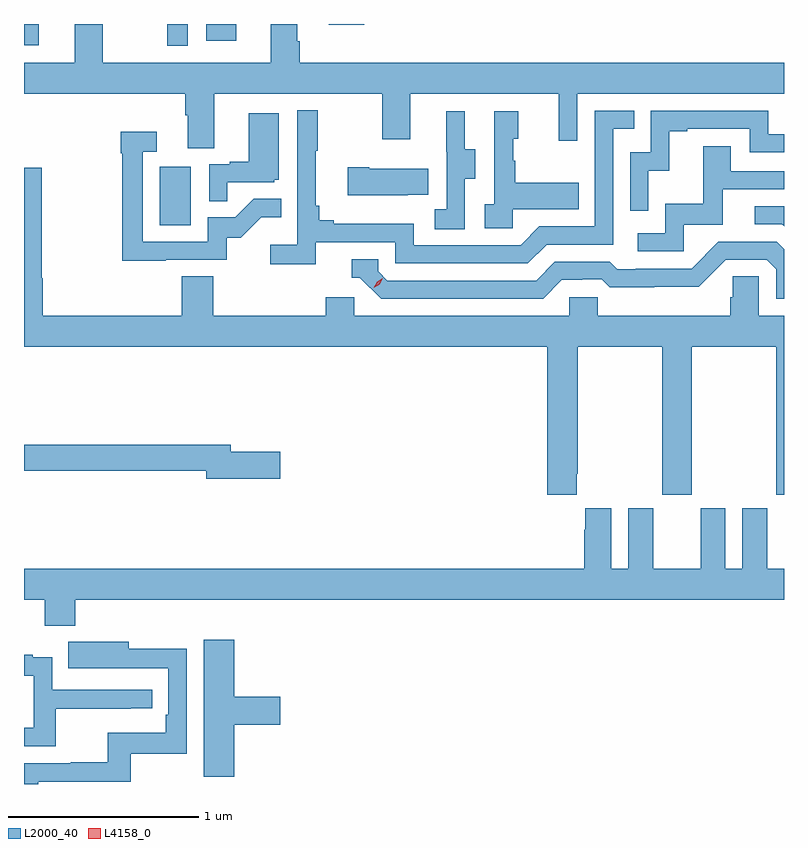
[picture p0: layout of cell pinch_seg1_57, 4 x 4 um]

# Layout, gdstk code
import gdstk
lib = gdstk.Library(unit=1e-6, precision=1e-09)
def R(c, l, rs):  # rectangles x0, y0, x1, y1
    for r in rs: c.add(gdstk.rectangle(r[:2], r[2:], *l))
def P(c, l, *ps):  # polygons
    for p in ps: c.add(gdstk.Polygon(p, *l))
L2000_40 = (2000, 40)
L4158_0 = (4158, 0)

pinch_seg1_57 = lib.new_cell('pinch_seg1_57')
R(pinch_seg1_57, L2000_40, [(1045.994,565.692,1046.158,565.999), (1046.034,566.637,1046.142,566.751), (1045.28,566.64,1045.358,566.751), (1046.24,566.664,1046.398,566.751), (1046.883,566.748,1047.071,566.751)])
P(pinch_seg1_57, L2000_40, [(1046.281,566.384),(1047.166,566.384),(1047.166,566.145),(1047.313,566.145),(1047.313,566.384),(1048.094,566.384),(1048.094,566.136),(1048.191,566.136),(1048.191,566.384),(1049.28,566.384),(1049.28,566.548),(1046.732,566.548),(1046.732,566.66),(1046.719,566.66),(1046.719,566.751),(1046.579,566.751),(1046.579,566.548),(1045.695,566.548),(1045.695,566.751),(1045.547,566.751),(1045.547,566.548),(1045.28,566.548),(1045.28,566.384),(1046.129,566.384),(1046.129,566.272),(1046.141,566.272),(1046.141,566.098),(1046.281,566.098)],
  [(1046.816,565.602),(1047.234,565.602),(1047.234,565.491),(1047.931,565.491),(1048.03,565.59),(1048.38,565.59),(1048.38,566.199),(1048.493,566.199),(1048.493,566.295),(1048.284,566.295),(1048.284,565.686),(1047.993,565.686),(1047.894,565.587),(1047.33,565.587),(1047.33,565.699),(1046.911,565.699),(1046.911,565.718),(1046.834,565.718),(1046.834,565.795),(1046.815,565.795),(1046.815,566.083),(1046.827,566.083),(1046.827,566.296),(1046.718,566.296),(1046.718,565.588),(1046.577,565.588),(1046.577,565.486),(1046.816,565.486)],
  [(1048.566,565.979),(1048.676,565.979),(1048.676,566.187),(1048.771,566.187),(1048.771,566.199),(1049.1,566.199),(1049.1,566.076),(1049.28,566.076),(1049.28,566.172),(1049.196,566.172),(1049.196,566.295),(1048.578,566.295),(1048.578,566.076),(1048.47,566.076),(1048.47,565.767),(1048.566,565.767)],
  [(1047.852,565.775),(1048.199,565.775),(1048.199,565.915),(1047.865,565.915),(1047.865,566.03),(1047.855,566.03),(1047.855,566.148),(1047.88,566.148),(1047.88,566.293),(1047.756,566.293),(1047.756,565.802),(1047.705,565.802),(1047.705,565.677),(1047.852,565.677)],
  [(1047.6,565.936),(1047.655,565.936),(1047.655,566.091),(1047.601,566.091),(1047.601,566.293),(1047.503,566.293),(1047.503,566.079),(1047.504,566.079),(1047.504,565.775),(1047.441,565.775),(1047.441,565.672),(1047.6,565.672)],
  [(1046.351,565.917),(1046.598,565.917),(1046.598,565.932),(1046.62,565.932),(1046.62,566.281),(1046.462,566.281),(1046.462,566.026),(1046.363,566.026),(1046.363,566.013),(1046.256,566.013),(1046.256,565.819),(1046.351,565.819)],
  [(1046.027,565.509),(1046.346,565.509),(1046.346,565.626),(1046.422,565.626),(1046.529,565.733),(1046.633,565.733),(1046.633,565.832),(1046.489,565.832),(1046.391,565.734),(1046.247,565.734),(1046.247,565.605),(1045.905,565.605),(1045.905,566.079),(1045.978,566.079),(1045.978,566.185),(1045.789,566.185),(1045.789,566.072),(1045.797,566.072),(1045.797,565.504),(1046.027,565.504)],
  [(1048.752,565.695),(1048.957,565.695),(1048.957,565.881),(1049.28,565.881),(1049.28,565.977),(1048.999,565.977),(1048.999,566.107),(1048.855,566.107),(1048.855,565.804),(1048.656,565.804),(1048.656,565.65),(1048.509,565.65),(1048.509,565.554),(1048.752,565.554)],
  [(1047.299,565.853),(1047.407,565.853),(1047.407,565.99),(1047.097,565.99),(1047.097,565.998),(1046.985,565.998),(1046.985,565.85),(1047.299,565.85)],
  [(1048.189,564.385),(1048.194,564.385),(1048.194,565.052),(1048.639,565.052),(1048.639,564.273),(1048.794,564.273),(1048.794,565.052),(1049.239,565.052),(1049.239,564.273),(1049.28,564.273),(1049.28,565.216),(1049.148,565.216),(1049.148,565.424),(1049.011,565.424),(1049.011,565.314),(1048.997,565.314),(1048.997,565.216),(1048.299,565.216),(1048.299,565.314),(1048.149,565.314),(1048.149,565.216),(1047.018,565.216),(1047.018,565.314),(1046.867,565.314),(1046.867,565.216),(1046.276,565.216),(1046.276,565.424),(1046.111,565.424),(1046.111,565.216),(1045.379,565.216),(1045.379,565.412),(1045.374,565.412),(1045.374,565.995),(1045.28,565.995),(1045.28,565.052),(1048.034,565.052),(1048.034,564.273),(1048.189,564.273)],
  [(1049.28,565.791),(1049.127,565.791),(1049.127,565.698),(1049.268,565.698),(1049.28,565.686)],
  [(1048.111,565.404),(1048.218,565.404),(1048.218,565.407),(1048.321,565.407),(1048.363,565.365),(1048.596,565.365),(1048.596,565.367),(1048.832,565.367),(1048.974,565.509),(1049.19,565.509),(1049.238,565.461),(1049.238,565.305),(1049.28,565.305),(1049.28,565.566),(1049.241,565.605),(1048.935,565.605),(1048.794,565.464),(1048.501,565.464),(1048.501,565.461),(1048.402,565.461),(1048.363,565.5),(1048.074,565.5),(1047.975,565.401),(1047.192,565.401),(1047.144,565.449),(1047.144,565.512),(1047.005,565.512),(1047.005,565.416),(1047.048,565.416),(1047.159,565.305),(1048.012,565.305)],
  [(1046.629,564.5),(1046.368,564.5),(1046.368,564.536),(1045.28,564.536),(1045.28,564.4),(1046.24,564.4),(1046.24,564.358),(1046.629,564.358)],
  [(1045.55,563.72),(1049.28,563.72),(1049.28,563.884),(1049.191,563.884),(1049.191,564.202),(1049.06,564.202),(1049.06,563.884),(1048.972,563.884),(1048.972,564.202),(1048.841,564.202),(1048.841,563.884),(1048.591,563.884),(1048.591,564.202),(1048.46,564.202),(1048.46,563.884),(1048.372,563.884),(1048.372,564.202),(1048.235,564.202),(1048.235,564.089),(1048.228,564.089),(1048.228,563.884),(1045.28,563.884),(1045.28,563.72),(1045.39,563.72),(1045.39,563.585),(1045.55,563.585)],
  [(1046.386,563.063),(1046.629,563.063),(1046.629,563.21),(1046.386,563.21),(1046.386,563.509),(1046.225,563.509),(1046.225,562.788),(1046.386,562.788)],
  [(1045.356,562.764),(1045.843,562.764),(1045.843,562.911),(1046.136,562.911),(1046.136,563.462),(1045.831,563.462),(1045.831,563.5),(1045.513,563.5),(1045.513,563.36),(1045.727,563.36),(1045.727,563.361),(1046.04,563.361),(1046.04,563.116),(1046.027,563.116),(1046.027,563.02),(1045.722,563.02),(1045.722,562.865),(1045.525,562.865),(1045.525,562.86),(1045.28,562.86),(1045.28,562.751),(1045.356,562.751)],
  [(1045.448,563.146),(1045.841,563.146),(1045.841,563.151),(1045.954,563.151),(1045.954,563.247),(1045.428,563.247),(1045.428,563.419),(1045.325,563.419),(1045.325,563.431),(1045.28,563.431),(1045.28,563.322),(1045.332,563.322),(1045.332,563.046),(1045.28,563.046),(1045.28,562.95),(1045.448,562.95)])
P(pinch_seg1_57, L4158_0, [(1047.121,565.362),(1047.121,565.363),(1047.138,565.395),(1047.169,565.414),(1047.169,565.414),(1047.169,565.414),(1047.152,565.382),(1047.122,565.362)])

lib.write_gds('pinch_seg1_57.gds')
